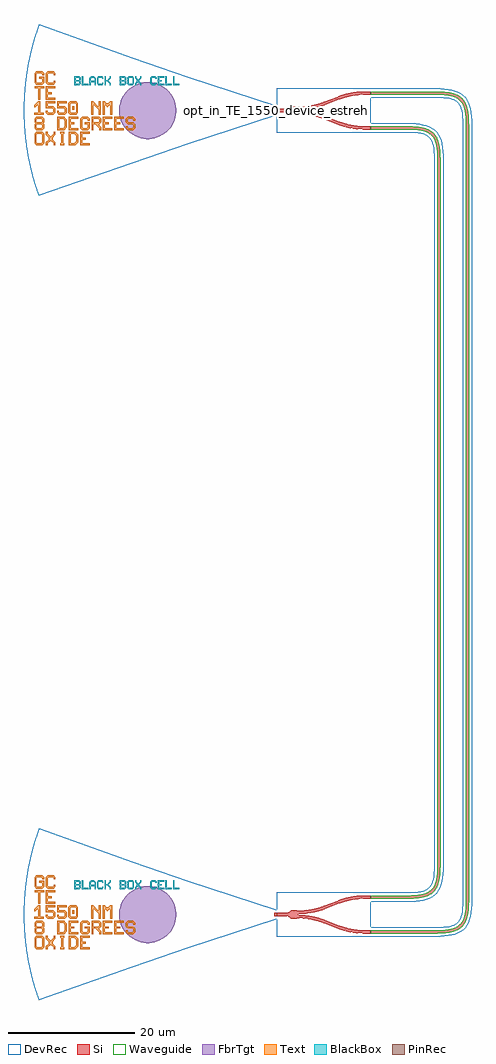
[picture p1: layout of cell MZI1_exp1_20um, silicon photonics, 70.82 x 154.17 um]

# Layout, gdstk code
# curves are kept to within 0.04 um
import gdstk
lib = gdstk.Library(unit=1e-6, precision=1e-09)
def R(c, l, rs):  # rectangles x0, y0, x1, y1
    for r in rs: c.add(gdstk.rectangle(r[:2], r[2:], *l))
def P(c, l, *ps):  # polygons
    for p in ps: c.add(gdstk.Polygon(p, *l))
Si = (1, 0)
PinRec = (1, 10)
Waveguide = (1, 99)
Text = (10, 0)
DevRec = (68, 0)
FbrTgt = (81, 0)
BlackBox = (998, 0)

waveguide_3 = lib.new_cell('Waveguide$3')
P(waveguide_3, Si, [(14.8,2.5),(14.8,3),(21.431,3.017),(22.646,3.137),(23.583,3.389),(24.269,3.784),(24.567,4.082),(24.811,4.446),(25.156,5.408),(25.324,6.728),(25.352,119.25),(25.299,120.635),(25.088,121.862),(24.696,122.743),(24.425,123.073),(24.096,123.343),(23.344,123.696),(22.492,123.887),(21.234,123.99),(14.8,124),(14.8,124.5),(21.652,124.472),(22.733,124.354),(23.635,124.125),(24.374,123.759),(24.869,123.332),(25.25,122.793),(25.568,122),(25.758,121.04),(25.843,119.897),(25.824,6.7),(25.644,5.3),(25.477,4.717),(25.249,4.206),(24.684,3.483),(24.262,3.169),(23.769,2.925),(22.732,2.645),(21.453,2.517)])
P(waveguide_3, Waveguide, [(14.8,2.5),(14.8,3),(21.431,3.017),(22.646,3.137),(23.583,3.389),(24.269,3.784),(24.567,4.082),(24.811,4.446),(25.156,5.408),(25.324,6.728),(25.352,119.25),(25.299,120.635),(25.088,121.862),(24.696,122.743),(24.425,123.073),(24.096,123.343),(23.344,123.696),(22.492,123.887),(21.234,123.99),(14.8,124),(14.8,124.5),(21.652,124.472),(22.733,124.354),(23.635,124.125),(24.374,123.759),(24.869,123.332),(25.25,122.793),(25.568,122),(25.758,121.04),(25.843,119.897),(25.824,6.7),(25.644,5.3),(25.477,4.717),(25.249,4.206),(24.684,3.483),(24.262,3.169),(23.769,2.925),(22.732,2.645),(21.453,2.517)])
P(waveguide_3, DevRec, [(14.8,2),(14.8,3.5),(21.251,3.51),(22.346,3.597),(23.497,3.895),(23.977,4.192),(24.159,4.374),(24.456,4.854),(24.676,5.556),(24.809,6.519),(24.852,7.75),(24.852,119.25),(24.81,120.48),(24.677,121.443),(24.317,122.408),(24.16,122.625),(23.761,122.964),(23.178,123.224),(22.347,123.402),(21.252,123.489),(14.8,123.5),(14.8,125),(21.953,124.953),(23.112,124.79),(24.112,124.472),(24.952,123.947),(25.3,123.599),(25.591,123.2),(26.007,122.277),(26.241,121.202),(26.342,119.951),(26.352,7.75),(26.305,6.399),(26.142,5.24),(26.006,4.722),(25.59,3.799),(24.951,3.052),(24.111,2.527),(23.111,2.209),(21.952,2.046)])
waveguide_3.add(gdstk.FlexPath([(14.81,2.75),(14.79,2.75)], 0.5, ends="flush", simple_path=True, layer=1, datatype=10))  # PinRec
waveguide_3.add(gdstk.FlexPath([(14.81,124.25),(14.79,124.25)], 0.5, ends="flush", simple_path=True, layer=1, datatype=10))  # PinRec
waveguide_3.add(gdstk.Label('opt2', (14.8,124.25), layer=1, texttype=10))
waveguide_3.add(gdstk.Label('opt1', (14.8,2.75), layer=1, texttype=10))
waveguide_3.add(gdstk.Label('Length=140.001 (microns)', (14.8,2.15), layer=68, texttype=0))
waveguide_3.add(gdstk.Label('Spice_param:wg_length=0.000140001 wg_width=5e-07 points="[[14.8,2.75],[25.602,2.75],[25.602,124.25],[14.8,124.25]]" radius=5e-06', (14.8,2.75), layer=68, texttype=0))
waveguide_3.add(gdstk.Label('waveguide_type=Strip TE 1550 nm, w=500 nm', (14.8,2.55), layer=68, texttype=0))
waveguide_3.add(gdstk.Label('cellName=Waveguide', (14.8,2.95), layer=68, texttype=0))
waveguide_3.add(gdstk.Label('Component=ebeam_wg_integral_1550', (14.8,2.85), layer=68, texttype=0))
waveguide_3.add(gdstk.Label('Lumerical_INTERCONNECT_library=Design kits/EBeam', (14.8,2.65), layer=68, texttype=0))

waveguide = lib.new_cell('Waveguide')
P(waveguide, Si, [(14.8,-3),(14.8,-2.5),(25.53,-2.495),(26.662,-2.428),(27.582,-2.271),(28.196,-2.063),(28.596,-1.843),(28.925,-1.573),(29.196,-1.243),(29.588,-0.362),(29.799,0.865),(29.852,2.25),(29.852,124.75),(29.761,126.479),(29.507,127.615),(29.067,128.418),(28.769,128.716),(28.405,128.96),(27.966,129.156),(27.298,129.335),(26.308,129.462),(25.319,129.499),(14.8,129.5),(14.8,130),(25.323,129.999),(26.533,129.945),(27.551,129.793),(28.269,129.575),(28.982,129.183),(29.453,128.734),(29.812,128.173),(30.107,127.354),(30.257,126.541),(30.342,125.398),(30.352,2.25),(30.297,0.819),(30.025,-0.643),(29.813,-1.172),(29.535,-1.63),(29.185,-2.016),(28.763,-2.33),(28.27,-2.574),(27.706,-2.755),(26.716,-2.926),(25.54,-2.995)])
P(waveguide, Waveguide, [(14.8,-3),(14.8,-2.5),(25.53,-2.495),(26.662,-2.428),(27.582,-2.271),(28.196,-2.063),(28.596,-1.843),(28.925,-1.573),(29.196,-1.243),(29.588,-0.362),(29.799,0.865),(29.852,2.25),(29.852,124.75),(29.761,126.479),(29.507,127.615),(29.067,128.418),(28.769,128.716),(28.405,128.96),(27.966,129.156),(27.298,129.335),(26.308,129.462),(25.319,129.499),(14.8,129.5),(14.8,130),(25.323,129.999),(26.533,129.945),(27.551,129.793),(28.269,129.575),(28.982,129.183),(29.453,128.734),(29.812,128.173),(30.107,127.354),(30.257,126.541),(30.342,125.398),(30.352,2.25),(30.297,0.819),(30.025,-0.643),(29.813,-1.172),(29.535,-1.63),(29.185,-2.016),(28.763,-2.33),(28.27,-2.574),(27.706,-2.755),(26.716,-2.926),(25.54,-2.995)])
P(waveguide, DevRec, [(14.8,-3.5),(14.8,-2),(25.752,-1.989),(26.847,-1.902),(27.678,-1.724),(28.261,-1.464),(28.478,-1.307),(28.817,-0.908),(29.177,0.057),(29.31,1.02),(29.352,2.25),(29.352,124.75),(29.254,126.495),(29.076,127.326),(28.956,127.646),(28.659,128.126),(28.477,128.308),(27.997,128.605),(26.846,128.903),(25.101,129),(14.8,129),(14.8,130.5),(25.103,130.5),(26.452,130.454),(27.611,130.291),(28.611,129.973),(29.451,129.448),(29.799,129.1),(30.09,128.701),(30.506,127.778),(30.74,126.703),(30.841,125.452),(30.852,2.25),(30.806,0.9),(30.643,-0.259),(30.507,-0.777),(30.091,-1.7),(29.452,-2.447),(29.053,-2.738),(28.13,-3.154),(27.055,-3.388),(25.804,-3.489)])
waveguide.add(gdstk.FlexPath([(14.81,-2.75),(14.79,-2.75)], 0.5, ends="flush", simple_path=True, layer=1, datatype=10))  # PinRec
waveguide.add(gdstk.FlexPath([(14.81,129.75),(14.79,129.75)], 0.5, ends="flush", simple_path=True, layer=1, datatype=10))  # PinRec
waveguide.add(gdstk.Label('opt2', (14.8,-2.75), layer=1, texttype=10))
waveguide.add(gdstk.Label('opt1', (14.8,129.75), layer=1, texttype=10))
waveguide.add(gdstk.Label('Length=160.001 (microns)', (14.8,129.15), layer=68, texttype=0))
waveguide.add(gdstk.Label('Spice_param:wg_length=0.000160001 wg_width=5e-07 points="[[14.8,129.75],[30.102,129.75],[30.102,-2.75],[14.8,-2.75]]" radius=5e-06', (14.8,129.75), layer=68, texttype=0))
waveguide.add(gdstk.Label('waveguide_type=Strip TE 1550 nm, w=500 nm', (14.8,129.55), layer=68, texttype=0))
waveguide.add(gdstk.Label('cellName=Waveguide', (14.8,129.95), layer=68, texttype=0))
waveguide.add(gdstk.Label('Component=ebeam_wg_integral_1550', (14.8,129.85), layer=68, texttype=0))
waveguide.add(gdstk.Label('Lumerical_INTERCONNECT_library=Design kits/EBeam', (14.8,129.65), layer=68, texttype=0))

ebeam_y_1550 = lib.new_cell('ebeam_y_1550')
R(ebeam_y_1550, Si, [(6.5,-3,7.4,-2.5), (-7.4,-0.25,-6,0.25), (6.5,2.5,7.4,3)])
P(ebeam_y_1550, Si, [(6.458,-3),(6.237,-2.997),(6.237,-2.497),(6.5,-2.5),(6.5,-3)],
  [(2.265,-2.21),(0.055,-1.356),(0.235,-0.89),(2.445,-1.744)],
  [(5.033,-2.908),(3.59,-2.634),(2.265,-2.21),(2.445,-1.744),(3.731,-2.154),(5.033,-2.404)],
  [(-0.762,0.555),(-0.762,1.076),(0.055,1.356),(0.235,0.89)],
  [(-5.122,-0.662),(-5.442,-0.374),(-5.808,-0.255),(-6,-0.25),(-6,0.25),(-5.817,0.253),(-5.442,0.374),(-5.122,0.662)],
  [(-4.957,-0.703),(-5.122,-0.662),(-5.122,0.662),(-4.538,0.703),(-4,0.6),(-4,-0.6),(-4.509,-0.701)],
  [(0.055,-1.356),(-0.762,-1.076),(-0.762,-0.555),(0.235,-0.89)],
  [(6.237,2.497),(6.237,2.997),(6.5,3),(6.5,2.5)],
  [(-0.762,-1.076),(-2.334,-0.724),(-4,-0.6),(-4,-0.1),(-2.381,-0.212),(-0.762,-0.555)],
  [(5.033,2.404),(5.033,2.908),(6.237,2.997),(6.237,2.497)],
  [(6.233,-2.997),(5.033,-2.908),(5.033,-2.404),(6.237,-2.497)],
  [(0.235,0.89),(0.055,1.356),(2.265,2.21),(2.445,1.744)],
  [(2.445,1.744),(2.267,2.211),(3.59,2.634),(5.033,2.908),(5.033,2.404),(3.731,2.154)],
  [(-4,0.1),(-4,0.6),(-2.334,0.724),(-0.762,1.076),(-0.762,0.555),(-2.381,0.212)])
R(ebeam_y_1550, DevRec, [(-7.4,-3.5,7.4,3.5)])
ebeam_y_1550.add(gdstk.FlexPath([(7.35,-2.75),(7.45,-2.75)], 0.5, ends="flush", simple_path=True, layer=1, datatype=10))  # PinRec
ebeam_y_1550.add(gdstk.FlexPath([(7.35,2.75),(7.45,2.75)], 0.5, ends="flush", simple_path=True, layer=1, datatype=10))  # PinRec
ebeam_y_1550.add(gdstk.FlexPath([(-7.35,0),(-7.45,0)], 0.5, ends="flush", simple_path=True, layer=1, datatype=10))  # PinRec
ebeam_y_1550.add(gdstk.Label('Ref: Y Zhang, Opt. Express, 21/1, 2013', (-7.5,-1), layer=10, texttype=0))
ebeam_y_1550.add(gdstk.Label('opt1', (-7.4,0), layer=1, texttype=10))
ebeam_y_1550.add(gdstk.Label('opt3', (7.4,-2.75), layer=1, texttype=10))
ebeam_y_1550.add(gdstk.Label('opt2', (7.4,2.75), layer=1, texttype=10))
ebeam_y_1550.add(gdstk.Label('Lumerical_INTERCONNECT_library=Design kits/ebeam', (-6.86,-2.19), layer=68, texttype=0))
ebeam_y_1550.add(gdstk.Label('Component=ebeam_y_1550', (-6,1.5), layer=68, texttype=0))

text = lib.new_cell('TEXT')
P(text, BlackBox, [(13.2,0),(13.2,1.4),(14.2,1.4),(14.2,1.2),(13.4,1.2),(13.4,0.8),(13.8,0.8),(13.8,0.6),(13.4,0.6),(13.4,0.2),(14.2,0.2),(14.2,0)],
  [(9.6,0),(9.6,0.3),(9.9,0.6),(9.9,0.8),(9.6,1.1),(9.6,1.4),(9.8,1.4),(9.8,1.2),(10.1,0.9),(10.4,1.2),(10.4,1.4),(10.6,1.4),(10.6,1.1),(10.3,0.8),(10.3,0.6),(10.6,0.3),(10.6,0),(10.4,0),(10.4,0.2),(10.1,0.5),(9.8,0.2),(9.8,0)],
  [(8.6,0),(8.4,0.2),(8.4,1.2),(8.6,1.4),(9.2,1.4),(9.4,1.2),(9.4,0.7),(9.2,0.7),(9.2,1.1),(9.1,1.2),(8.7,1.2),(8.6,1.1),(8.6,0.3),(8.7,0.2),(9.1,0.2),(9.2,0.3),(9.2,0.7),(9.4,0.7),(9.4,0.2),(9.2,0)],
  [(4.8,0),(4.8,1.4),(5,1.4),(5,0.8),(5.2,0.8),(5.6,1.2),(5.6,1.4),(5.8,1.4),(5.8,1.1),(5.4,0.7),(5.8,0.3),(5.8,0),(5.6,0),(5.6,0.2),(5.2,0.6),(5,0.6),(5,0)],
  [(3.8,0),(3.6,0.2),(3.6,1.2),(3.8,1.4),(4.4,1.4),(4.6,1.2),(4.6,1),(4.4,1),(4.4,1.1),(4.3,1.2),(3.9,1.2),(3.8,1.1),(3.8,0.3),(3.9,0.2),(4.3,0.2),(4.4,0.3),(4.4,0.4),(4.6,0.4),(4.6,0.2),(4.4,0)],
  [(12.2,0),(12,0.2),(12,1.2),(12.2,1.4),(12.8,1.4),(13,1.2),(13,1),(12.8,1),(12.8,1.1),(12.7,1.2),(12.3,1.2),(12.2,1.1),(12.2,0.3),(12.3,0.2),(12.7,0.2),(12.8,0.3),(12.8,0.4),(13,0.4),(13,0.2),(12.8,0)],
  [(2.4,0),(2.4,1.1),(2.7,1.4),(3.1,1.4),(3.3,1.2),(2.8,1.2),(2.6,1),(2.6,0.7),(3.2,0.7),(3.2,1),(3,1.2),(3.3,1.2),(3.4,1.1),(3.4,0),(3.2,0),(3.2,0.5),(2.6,0.5),(2.6,0)],
  [(1.2,0),(1.2,1.4),(1.4,1.4),(1.4,0.2),(2.2,0.2),(2.2,0)],
  [(14.4,0),(14.4,1.4),(14.6,1.4),(14.6,0.2),(15.4,0.2),(15.4,0)],
  [(15.6,0),(15.6,1.4),(15.8,1.4),(15.8,0.2),(16.6,0.2),(16.6,0)],
  [(0,0),(0,1.4),(0.8,1.4),(1,1.2),(0.2,1.2),(0.2,0.8),(0.7,0.8),(0.8,0.9),(0.8,1.1),(0.7,1.2),(1,1.2),(1,0.8),(0.9,0.7),(1,0.6),(0.2,0.6),(0.2,0.2),(0.7,0.2),(0.8,0.3),(0.8,0.5),(0.7,0.6),(1,0.6),(1,0.2),(0.8,0)],
  [(7.2,0),(7.2,1.4),(8,1.4),(8.2,1.2),(7.4,1.2),(7.4,0.8),(7.9,0.8),(8,0.9),(8,1.1),(7.9,1.2),(8.2,1.2),(8.2,0.8),(8.1,0.7),(8.2,0.6),(7.4,0.6),(7.4,0.2),(7.9,0.2),(8,0.3),(8,0.5),(7.9,0.6),(8.2,0.6),(8.2,0.2),(8,0)])

gc_te_1550_8degoxide_bb = lib.new_cell('GC_TE_1550_8degOxide_BB')
R(gc_te_1550_8degoxide_bb, Si, [(-0.4,-0.25,0,0.25)])
R(gc_te_1550_8degoxide_bb, Text, [(-32.313,0.092,-32.013,0.692)])
P(gc_te_1550_8degoxide_bb, Text, [(-30.77,-3.09),(-31.07,-2.79),(-31.07,-1.29),(-30.77,-0.99),(-29.87,-0.99),(-29.57,-1.29),(-29.57,-1.59),(-29.87,-1.59),(-29.87,-1.44),(-30.02,-1.29),(-30.62,-1.29),(-30.77,-1.44),(-30.77,-2.64),(-30.62,-2.79),(-30.02,-2.79),(-29.87,-2.64),(-29.87,-2.19),(-30.32,-2.19),(-30.32,-1.89),(-29.57,-1.89),(-29.57,-2.79),(-29.87,-3.09)],
  [(-37.97,4.11),(-38.27,4.41),(-38.27,5.91),(-37.97,6.21),(-37.07,6.21),(-36.77,5.91),(-36.77,5.61),(-37.07,5.61),(-37.07,5.76),(-37.22,5.91),(-37.82,5.91),(-37.97,5.76),(-37.97,4.56),(-37.82,4.41),(-37.22,4.41),(-37.07,4.56),(-37.07,5.01),(-37.52,5.01),(-37.52,5.31),(-36.77,5.31),(-36.77,4.41),(-37.07,4.11)],
  [(-36.47,-5.49),(-36.47,-5.04),(-36.02,-4.59),(-36.02,-4.29),(-36.47,-3.84),(-36.47,-3.39),(-36.17,-3.39),(-36.17,-3.69),(-35.72,-4.14),(-35.27,-3.69),(-35.27,-3.39),(-34.97,-3.39),(-34.97,-3.84),(-35.42,-4.29),(-35.42,-4.59),(-34.97,-5.04),(-34.97,-5.49),(-35.27,-5.49),(-35.27,-5.19),(-35.72,-4.74),(-36.17,-5.19),(-36.17,-5.49)],
  [(-37.67,1.71),(-37.67,3.51),(-38.27,3.51),(-38.27,3.81),(-36.77,3.81),(-36.77,3.51),(-37.37,3.51),(-37.37,1.71)],
  [(-37.97,-5.49),(-38.27,-5.19),(-38.27,-3.69),(-37.97,-3.39),(-37.07,-3.39),(-36.77,-3.69),(-36.77,-4.44),(-37.07,-4.44),(-37.07,-3.84),(-37.22,-3.69),(-37.82,-3.69),(-37.97,-3.84),(-37.97,-5.04),(-37.82,-5.19),(-37.22,-5.19),(-37.07,-5.04),(-37.07,-4.44),(-36.77,-4.44),(-36.77,-5.19),(-37.07,-5.49)],
  [(-31.07,-5.49),(-31.07,-3.39),(-29.57,-3.39),(-29.57,-3.69),(-30.77,-3.69),(-30.77,-4.29),(-30.17,-4.29),(-30.17,-4.59),(-30.77,-4.59),(-30.77,-5.19),(-29.57,-5.19),(-29.57,-5.49)],
  [(-32.87,-3.09),(-32.87,-0.99),(-31.37,-0.99),(-31.37,-1.29),(-32.57,-1.29),(-32.57,-1.89),(-31.97,-1.89),(-31.97,-2.19),(-32.57,-2.19),(-32.57,-2.79),(-31.37,-2.79),(-31.37,-3.09)],
  [(-27.47,-3.09),(-27.47,-0.99),(-25.97,-0.99),(-25.97,-1.29),(-27.17,-1.29),(-27.17,-1.89),(-26.57,-1.89),(-26.57,-2.19),(-27.17,-2.19),(-27.17,-2.79),(-25.97,-2.79),(-25.97,-3.09)],
  [(-25.67,-3.09),(-25.67,-0.99),(-24.17,-0.99),(-24.17,-1.29),(-25.37,-1.29),(-25.37,-1.89),(-24.77,-1.89),(-24.77,-2.19),(-25.37,-2.19),(-25.37,-2.79),(-24.17,-2.79),(-24.17,-3.09)],
  [(-36.47,1.71),(-36.47,3.81),(-34.97,3.81),(-34.97,3.51),(-36.17,3.51),(-36.17,2.91),(-35.57,2.91),(-35.57,2.61),(-36.17,2.61),(-36.17,2.01),(-34.97,2.01),(-34.97,1.71)],
  [(-29.313,-0.658),(-29.313,1.442),(-29.013,1.442),(-28.263,0.692),(-28.113,0.692),(-28.113,1.442),(-27.813,1.442),(-27.813,-0.658),(-28.113,-0.658),(-28.113,0.092),(-28.863,0.842),(-29.013,0.842),(-29.013,-0.658)],
  [(-34.22,-5.49),(-34.22,-5.19),(-34.07,-5.19),(-34.07,-3.69),(-34.22,-3.69),(-34.22,-3.39),(-33.62,-3.39),(-33.62,-3.69),(-33.77,-3.69),(-33.77,-5.19),(-33.62,-5.19),(-33.62,-5.49)],
  [(-36.17,4.11),(-36.47,4.41),(-36.47,5.91),(-36.17,6.21),(-35.27,6.21),(-34.97,5.91),(-34.97,5.61),(-35.27,5.61),(-35.27,5.76),(-35.42,5.91),(-36.02,5.91),(-36.17,5.76),(-36.17,4.56),(-36.02,4.41),(-35.42,4.41),(-35.27,4.56),(-35.27,4.71),(-34.97,4.71),(-34.97,4.41),(-35.27,4.11)],
  [(-27.513,-0.658),(-27.513,1.442),(-27.213,1.442),(-26.913,1.142),(-26.613,1.142),(-26.313,1.442),(-26.013,1.442),(-26.013,-0.658),(-26.313,-0.658),(-26.313,0.842),(-26.463,0.842),(-26.763,0.542),(-27.063,0.842),(-27.213,0.842),(-27.213,-0.658)],
  [(-29.27,-3.09),(-29.27,-0.99),(-28.07,-0.99),(-27.77,-1.29),(-28.97,-1.29),(-28.97,-1.89),(-28.22,-1.89),(-28.07,-1.74),(-28.07,-1.44),(-28.22,-1.29),(-27.77,-1.29),(-27.77,-1.89),(-28.07,-2.19),(-28.07,-2.34),(-27.77,-2.64),(-27.77,-3.09),(-28.07,-3.09),(-28.07,-2.79),(-28.67,-2.19),(-28.97,-2.19),(-28.97,-3.09)],
  [(-32.613,-0.658),(-32.913,-0.358),(-32.913,1.142),(-32.613,1.442),(-31.713,1.442),(-31.413,1.142),(-32.463,1.142),(-32.613,0.992),(-32.613,-0.208),(-32.463,-0.358),(-31.863,-0.358),(-31.713,-0.208),(-31.713,0.992),(-31.863,1.142),(-31.413,1.142),(-31.413,-0.358),(-31.713,-0.658)],
  [(-37.97,-3.09),(-38.27,-2.79),(-38.27,-2.19),(-38.12,-2.04),(-38.27,-1.89),(-38.27,-1.29),(-37.97,-0.99),(-37.07,-0.99),(-36.77,-1.29),(-37.82,-1.29),(-37.97,-1.44),(-37.97,-1.74),(-37.82,-1.89),(-37.22,-1.89),(-37.07,-1.74),(-37.07,-1.44),(-37.22,-1.29),(-36.77,-1.29),(-36.77,-1.89),(-36.92,-2.04),(-36.77,-2.19),(-37.82,-2.19),(-37.97,-2.34),(-37.97,-2.64),(-37.82,-2.79),(-37.22,-2.79),(-37.07,-2.64),(-37.07,-2.34),(-37.22,-2.19),(-36.77,-2.19),(-36.77,-2.79),(-37.07,-3.09)],
  [(-32.87,-5.49),(-32.87,-3.39),(-31.82,-3.39),(-31.52,-3.69),(-32.57,-3.69),(-32.57,-5.19),(-31.97,-5.19),(-31.67,-4.89),(-31.67,-3.99),(-31.97,-3.69),(-31.52,-3.69),(-31.37,-3.84),(-31.37,-5.04),(-31.82,-5.49)],
  [(-34.67,-3.09),(-34.67,-0.99),(-33.62,-0.99),(-33.32,-1.29),(-34.37,-1.29),(-34.37,-2.79),(-33.77,-2.79),(-33.47,-2.49),(-33.47,-1.59),(-33.77,-1.29),(-33.32,-1.29),(-33.17,-1.44),(-33.17,-2.64),(-33.62,-3.09)],
  [(-36.213,-0.658),(-36.513,-0.358),(-36.513,-0.058),(-36.213,-0.058),(-36.213,-0.208),(-36.063,-0.358),(-35.463,-0.358),(-35.313,-0.208),(-35.313,0.242),(-35.463,0.392),(-36.513,0.392),(-36.513,1.442),(-35.013,1.442),(-35.013,1.142),(-36.213,1.142),(-36.213,0.692),(-35.313,0.692),(-35.013,0.392),(-35.013,-0.358),(-35.313,-0.658)],
  [(-34.413,-0.658),(-34.713,-0.358),(-34.713,-0.058),(-34.413,-0.058),(-34.413,-0.208),(-34.263,-0.358),(-33.663,-0.358),(-33.513,-0.208),(-33.513,0.242),(-33.663,0.392),(-34.713,0.392),(-34.713,1.442),(-33.213,1.442),(-33.213,1.142),(-34.413,1.142),(-34.413,0.692),(-33.513,0.692),(-33.213,0.392),(-33.213,-0.358),(-33.513,-0.658)],
  [(-23.57,-3.09),(-23.87,-2.79),(-23.87,-2.49),(-23.57,-2.49),(-23.57,-2.64),(-23.42,-2.79),(-22.82,-2.79),(-22.67,-2.64),(-22.67,-2.34),(-22.82,-2.19),(-23.57,-2.19),(-23.87,-1.89),(-23.87,-1.29),(-23.57,-0.99),(-22.67,-0.99),(-22.37,-1.29),(-22.37,-1.59),(-22.67,-1.59),(-22.67,-1.44),(-22.82,-1.29),(-23.42,-1.29),(-23.57,-1.44),(-23.57,-1.74),(-23.42,-1.89),(-22.67,-1.89),(-22.37,-2.19),(-22.37,-2.79),(-22.67,-3.09)],
  [(-38.313,-0.658),(-38.313,-0.358),(-37.713,-0.358),(-37.713,0.842),(-37.863,0.842),(-38.163,0.542),(-38.313,0.542),(-38.313,0.842),(-37.713,1.442),(-37.413,1.442),(-37.413,-0.358),(-36.813,-0.358),(-36.813,-0.658)])
P(gc_te_1550_8degoxide_bb, DevRec, [(-37.607,-13.5),(-38.627,-10.245),(-39.378,-6.832),(-39.647,-5.058),(-39.835,-3.274),(-39.969,0.224),(-39.812,3.541),(-39.331,7.097),(-38.557,10.505),(-37.546,13.669),(-22.8,8.353),(-14.109,5.36),(0,0.75),(0,-0.75),(-14.109,-5.36)])
P(gc_te_1550_8degoxide_bb, FbrTgt, [(-20.621,-4.5),(-21.495,-4.37),(-22.326,-4.073),(-23.084,-3.619),(-23.738,-3.026),(-24.264,-2.316),(-24.642,-1.518),(-24.857,-0.661),(-24.9,0.221),(-24.77,1.095),(-24.473,1.926),(-24.019,2.684),(-23.426,3.338),(-22.716,3.864),(-21.918,4.242),(-21.061,4.457),(-20.179,4.5),(-19.305,4.37),(-18.474,4.073),(-17.716,3.619),(-17.062,3.026),(-16.536,2.316),(-16.158,1.518),(-15.943,0.661),(-15.9,-0.221),(-16.03,-1.095),(-16.327,-1.926),(-16.781,-2.684),(-17.374,-3.338),(-18.084,-3.864),(-18.882,-4.242),(-19.739,-4.457)])
gc_te_1550_8degoxide_bb.add(gdstk.FlexPath([(-0.01,0),(0.01,0)], 0.5, ends="flush", simple_path=True, layer=1, datatype=10))  # PinRec
gc_te_1550_8degoxide_bb.add(gdstk.Reference(text, (-32,4)))
gc_te_1550_8degoxide_bb.add(gdstk.Label('opt1', (0,0), layer=1, texttype=10))
gc_te_1550_8degoxide_bb.add(gdstk.Label('Component=GC_TE_1550_8degOxide_BB', (-28,-5), layer=68, texttype=0))
gc_te_1550_8degoxide_bb.add(gdstk.Label('Lumerical_INTERCONNECT_library=Design kits/ebeam', (-29,-7), layer=68, texttype=0))

mzi1_exp1_20um = lib.new_cell('MZI1_exp1_20um')
mzi1_exp1_20um.add(gdstk.Reference(waveguide_3, (39.969,-140.669)))
mzi1_exp1_20um.add(gdstk.Reference(waveguide, (39.969,-140.669)))
mzi1_exp1_20um.add(gdstk.Reference(ebeam_y_1550, (47.369,-140.669)))
mzi1_exp1_20um.add(gdstk.Reference(ebeam_y_1550, (47.369,-13.669)))
mzi1_exp1_20um.add(gdstk.Reference(gc_te_1550_8degoxide_bb, (39.969,-140.669)))
mzi1_exp1_20um.add(gdstk.Reference(gc_te_1550_8degoxide_bb, (39.969,-13.669)))
mzi1_exp1_20um.add(gdstk.Label('opt_in_TE_1550_device_estrehlo_MZI1', (39.969,-13.669), layer=10, texttype=0))

lib.write_gds('MZI1_exp1_20um.gds')
